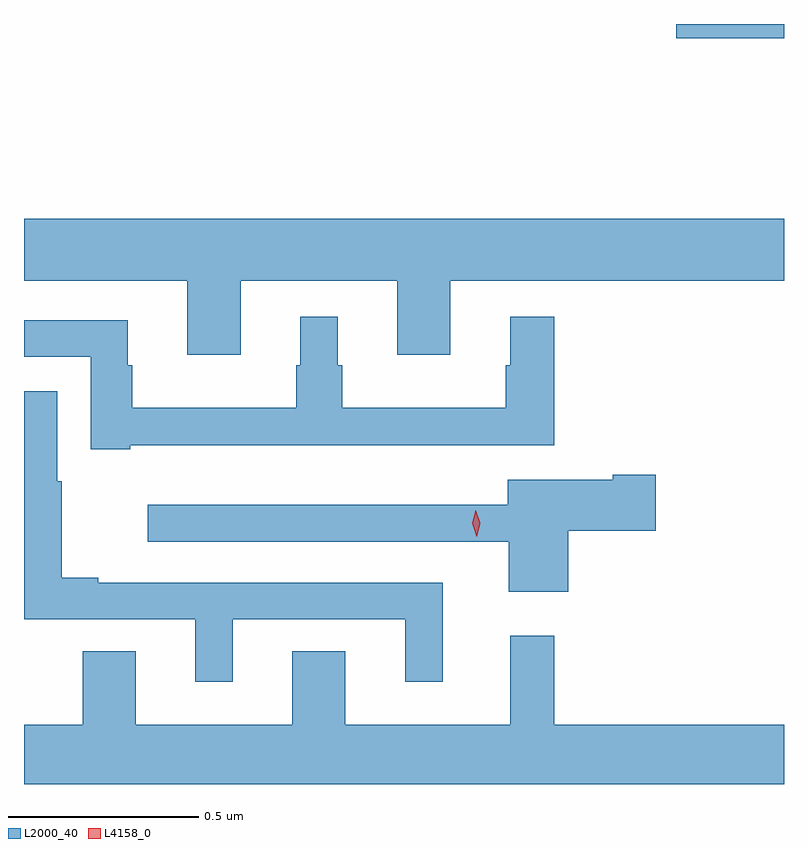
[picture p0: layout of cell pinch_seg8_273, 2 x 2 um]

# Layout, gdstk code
import gdstk
lib = gdstk.Library(unit=1e-6, precision=1e-09)
def R(c, l, rs):  # rectangles x0, y0, x1, y1
    for r in rs: c.add(gdstk.rectangle(r[:2], r[2:], *l))
def P(c, l, *ps):  # polygons
    for p in ps: c.add(gdstk.Polygon(p, *l))
L2000_40 = (2000, 40)
L4158_0 = (4158, 0)

pinch_seg8_273 = lib.new_cell('pinch_seg8_273')
R(pinch_seg8_273, L2000_40, [(556.286,1159.762,556.569,1159.8)])
P(pinch_seg8_273, L2000_40, [(555.139,1159.124),(555.551,1159.124),(555.551,1158.93),(555.691,1158.93),(555.691,1159.124),(556.569,1159.124),(556.569,1159.288),(554.569,1159.288),(554.569,1159.124),(554.999,1159.124),(554.999,1158.93),(555.139,1158.93)],
  [(554.848,1158.692),(555.965,1158.692),(555.965,1159.03),(555.848,1159.03),(555.848,1158.902),(555.837,1158.902),(555.837,1158.79),(555.406,1158.79),(555.406,1158.902),(555.394,1158.902),(555.394,1159.03),(555.296,1159.03),(555.296,1158.902),(555.285,1158.902),(555.285,1158.79),(554.854,1158.79),(554.854,1158.902),(554.842,1158.902),(554.842,1159.02),(554.569,1159.02),(554.569,1158.924),(554.745,1158.924),(554.745,1158.681),(554.848,1158.681)],
  [(555.118,1158.234),(555.572,1158.234),(555.572,1158.069),(555.671,1158.069),(555.671,1158.33),(554.764,1158.33),(554.764,1158.343),(554.668,1158.343),(554.668,1158.597),(554.656,1158.597),(554.656,1158.834),(554.569,1158.834),(554.569,1158.234),(555.02,1158.234),(555.02,1158.069),(555.118,1158.069)],
  [(556.001,1158.467),(556.231,1158.467),(556.231,1158.614),(556.118,1158.614),(556.118,1158.601),(555.842,1158.601),(555.842,1158.535),(554.895,1158.535),(554.895,1158.438),(555.845,1158.438),(555.845,1158.306),(556.001,1158.306)],
  [(556.569,1157.956),(555.965,1157.956),(555.965,1158.19),(555.848,1158.19),(555.848,1157.956),(555.415,1157.956),(555.415,1158.149),(555.275,1158.149),(555.275,1157.956),(554.863,1157.956),(554.863,1158.149),(554.723,1158.149),(554.723,1157.956),(554.569,1157.956),(554.569,1157.8),(556.569,1157.8)])
P(pinch_seg8_273, L4158_0, [(555.76,1158.451),(555.76,1158.451),(555.749,1158.486),(555.758,1158.521),(555.758,1158.521),(555.758,1158.521),(555.769,1158.486),(555.76,1158.451)])

lib.write_gds('pinch_seg8_273.gds')
